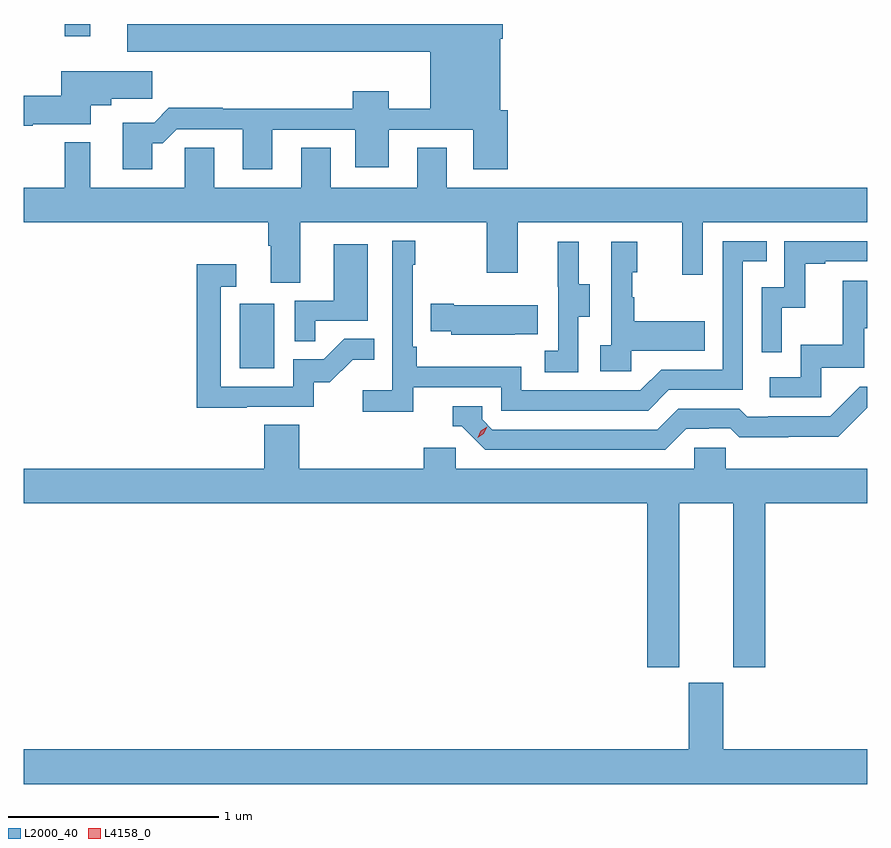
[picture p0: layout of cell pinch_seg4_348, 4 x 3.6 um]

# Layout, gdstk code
import gdstk
lib = gdstk.Library(unit=1e-6, precision=1e-09)
def R(c, l, rs):  # rectangles x0, y0, x1, y1
    for r in rs: c.add(gdstk.rectangle(r[:2], r[2:], *l))
def P(c, l, *ps):  # polygons
    for p in ps: c.add(gdstk.Polygon(p, *l))
L2000_40 = (2000, 40)
L4158_0 = (4158, 0)

pinch_seg4_348 = lib.new_cell('pinch_seg4_348')
R(pinch_seg4_348, L2000_40, [(1012.916,797.46,1013.08,797.767), (1012.086,799.035,1012.207,799.093)])
P(pinch_seg4_348, L2000_40, [(1012.501,798.527),(1012.55,798.527),(1012.617,798.594),(1012.931,798.594),(1012.931,798.405),(1013.071,798.405),(1013.071,798.591),(1013.465,798.591),(1013.465,798.413),(1013.623,798.413),(1013.623,798.591),(1014.023,798.591),(1014.023,798.405),(1014.188,798.405),(1014.188,798.684),(1014.151,798.684),(1014.151,799.022),(1014.164,799.022),(1014.164,799.093),(1012.382,799.093),(1012.382,798.962),(1013.819,798.962),(1013.819,798.692),(1013.623,798.692),(1013.623,798.775),(1013.453,798.775),(1013.453,798.692),(1012.835,798.692),(1012.835,798.695),(1012.58,798.695),(1012.51,798.625),(1012.361,798.625),(1012.361,798.405),(1012.501,798.405)],
  [(1011.934,798.617),(1012.21,798.617),(1012.21,798.707),(1012.306,798.707),(1012.306,798.739),(1012.501,798.739),(1012.501,798.868),(1012.07,798.868),(1012.07,798.752),(1011.892,798.752),(1011.892,798.61),(1011.934,798.61)],
  [(1013.899,798.506),(1013.759,798.506),(1013.759,798.316),(1013.347,798.316),(1013.347,798.506),(1013.207,798.506),(1013.207,798.316),(1012.795,798.316),(1012.795,798.506),(1012.656,798.506),(1012.656,798.316),(1012.207,798.316),(1012.207,798.532),(1012.086,798.532),(1012.086,798.316),(1011.892,798.316),(1011.892,798.152),(1013.051,798.152),(1013.051,798.04),(1013.063,798.04),(1013.063,797.866),(1013.203,797.866),(1013.203,798.152),(1014.088,798.152),(1014.088,797.913),(1014.235,797.913),(1014.235,798.152),(1015.016,798.152),(1015.016,797.904),(1015.113,797.904),(1015.113,798.152),(1015.892,798.152),(1015.892,798.316),(1013.899,798.316)],
  [(1013.738,797.37),(1014.156,797.37),(1014.156,797.259),(1014.853,797.259),(1014.952,797.358),(1015.302,797.358),(1015.302,797.967),(1015.415,797.967),(1015.415,798.063),(1015.206,798.063),(1015.206,797.454),(1014.915,797.454),(1014.816,797.355),(1014.252,797.355),(1014.252,797.467),(1013.756,797.467),(1013.756,797.563),(1013.736,797.563),(1013.736,797.951),(1013.749,797.951),(1013.749,798.064),(1013.64,798.064),(1013.64,797.356),(1013.499,797.356),(1013.499,797.254),(1013.738,797.254)],
  [(1015.488,797.747),(1015.598,797.747),(1015.598,797.955),(1015.693,797.955),(1015.693,797.967),(1015.892,797.967),(1015.892,798.063),(1015.5,798.063),(1015.5,797.844),(1015.392,797.844),(1015.392,797.535),(1015.488,797.535)],
  [(1014.774,797.543),(1015.121,797.543),(1015.121,797.683),(1014.787,797.683),(1014.787,797.798),(1014.777,797.798),(1014.777,797.916),(1014.802,797.916),(1014.802,798.061),(1014.678,798.061),(1014.678,797.57),(1014.627,797.57),(1014.627,797.445),(1014.774,797.445)],
  [(1014.522,797.704),(1014.577,797.704),(1014.577,797.859),(1014.523,797.859),(1014.523,798.061),(1014.425,798.061),(1014.425,797.847),(1014.426,797.847),(1014.426,797.543),(1014.363,797.543),(1014.363,797.44),(1014.522,797.44)],
  [(1013.273,797.685),(1013.524,797.685),(1013.524,798.049),(1013.363,798.049),(1013.363,797.781),(1013.178,797.781),(1013.178,797.587),(1013.273,797.587)],
  [(1012.949,797.277),(1013.268,797.277),(1013.268,797.394),(1013.344,797.394),(1013.451,797.501),(1013.555,797.501),(1013.555,797.6),(1013.412,797.6),(1013.314,797.502),(1013.169,797.502),(1013.169,797.373),(1012.827,797.373),(1012.827,797.847),(1012.9,797.847),(1012.9,797.953),(1012.711,797.953),(1012.711,797.272),(1012.949,797.272)],
  [(1015.674,797.463),(1015.879,797.463),(1015.879,797.649),(1015.892,797.649),(1015.892,797.875),(1015.777,797.875),(1015.777,797.572),(1015.578,797.572),(1015.578,797.418),(1015.431,797.418),(1015.431,797.322),(1015.674,797.322)],
  [(1014.221,797.621),(1014.329,797.621),(1014.329,797.758),(1013.932,797.758),(1013.932,797.766),(1013.821,797.766),(1013.821,797.636),(1013.919,797.636),(1013.919,797.618),(1014.221,797.618)],
  [(1015.033,797.172),(1015.14,797.172),(1015.14,797.175),(1015.243,797.175),(1015.285,797.133),(1015.518,797.133),(1015.518,797.135),(1015.754,797.135),(1015.892,797.273),(1015.892,797.373),(1015.857,797.373),(1015.716,797.232),(1015.423,797.232),(1015.423,797.229),(1015.324,797.229),(1015.285,797.268),(1014.996,797.268),(1014.897,797.169),(1014.114,797.169),(1014.066,797.217),(1014.066,797.28),(1013.927,797.28),(1013.927,797.184),(1013.97,797.184),(1014.081,797.073),(1014.934,797.073)],
  [(1015,796.82),(1015.256,796.82),(1015.256,796.041),(1015.409,796.041),(1015.409,796.82),(1015.892,796.82),(1015.892,796.984),(1015.221,796.984),(1015.221,797.082),(1015.071,797.082),(1015.071,796.984),(1013.94,796.984),(1013.94,797.082),(1013.789,797.082),(1013.789,796.984),(1013.198,796.984),(1013.198,797.192),(1013.033,797.192),(1013.033,796.984),(1011.892,796.984),(1011.892,796.82),(1014.848,796.82),(1014.848,796.041),(1015,796.041)],
  [(1015.892,795.652),(1015.21,795.652),(1015.21,795.969),(1015.046,795.969),(1015.046,795.652),(1011.892,795.652),(1011.892,795.488),(1015.892,795.488)])
P(pinch_seg4_348, L4158_0, [(1014.044,797.13),(1014.044,797.13),(1014.059,797.163),(1014.09,797.183),(1014.09,797.183),(1014.09,797.183),(1014.074,797.15),(1014.044,797.13)])

lib.write_gds('pinch_seg4_348.gds')
